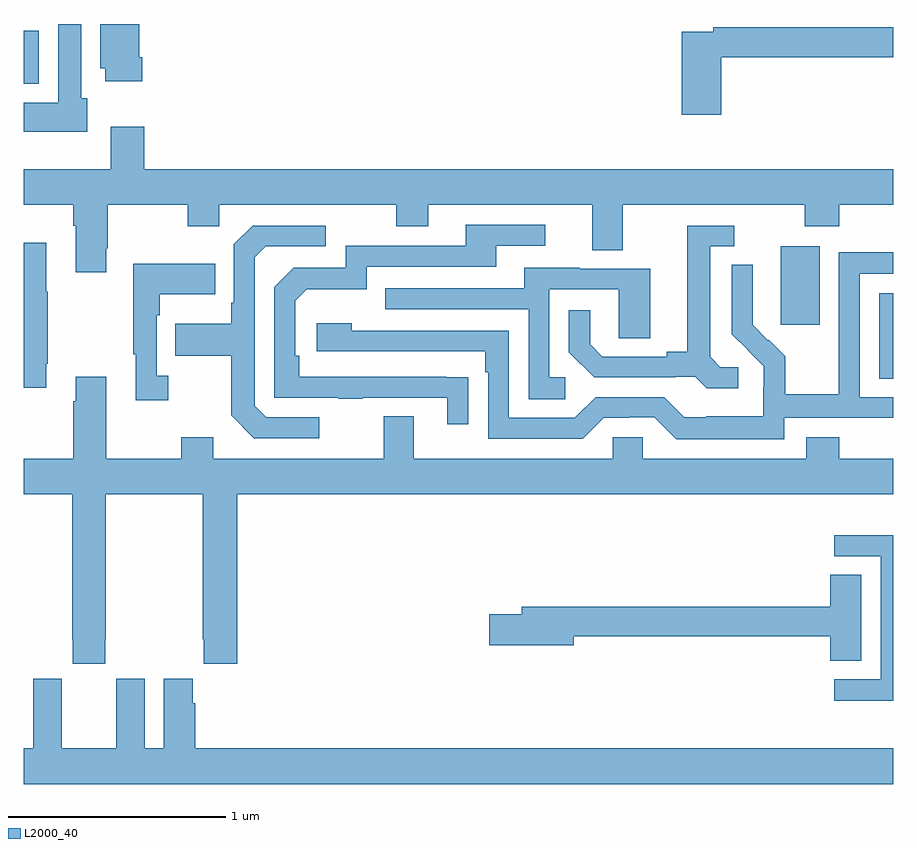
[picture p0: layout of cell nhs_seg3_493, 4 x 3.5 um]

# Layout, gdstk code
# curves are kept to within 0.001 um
import gdstk
lib = gdstk.Library(unit=1e-6, precision=1e-09)
def R(c, l, rs):  # rectangles x0, y0, x1, y1
    for r in rs: c.add(gdstk.rectangle(r[:2], r[2:], *l))
def P(c, l, *ps):  # polygons
    for p in ps: c.add(gdstk.Polygon(p, *l))
L2000_40 = (2000, 40)

nhs_seg3_493 = lib.new_cell('nhs_seg3_493')
R(nhs_seg3_493, L2000_40, [(138.935,714.769,139,715.162), (138.482,715.017,138.661,715.378), (135,716.126,135.07,716.368)])
P(nhs_seg3_493, L2000_40, [(135.545,716.248),(135.532,716.248),(135.532,716.4),(135.353,716.4),(135.353,716.196),(135.374,716.196),(135.374,716.136),(135.545,716.136)],
  [(135.292,716.058),(135.265,716.058),(135.265,716.4),(135.158,716.4),(135.158,716.038),(135,716.038),(135,715.904),(135.292,715.904)],
  [(138.209,716.248),(139,716.248),(139,716.384),(138.172,716.384),(138.172,716.364),(138.026,716.364),(138.026,715.983),(138.209,715.983)],
  [(135.401,715.927),(135.401,715.732),(135,715.732),(135,715.568),(135.227,715.568),(135.227,715.472),(135.239,715.472),(135.239,715.257),(135.379,715.257),(135.379,715.369),(135.387,715.369),(135.387,715.568),(135.754,715.568),(135.754,715.469),(135.9,715.469),(135.9,715.568),(136.714,715.568),(136.714,715.469),(136.861,715.469),(136.861,715.568),(137.615,715.568),(137.615,715.36),(137.755,715.36),(137.755,715.568),(138.592,715.568),(138.592,715.469),(138.752,715.469),(138.752,715.568),(139,715.568),(139,715.732),(135.554,715.732),(135.554,715.927)],
  [(137.045,714.776),(136.268,714.777),(136.268,714.874),(136.248,714.874),(136.248,715.128),(136.301,715.181),(136.578,715.181),(136.578,715.284),(137.173,715.284),(137.173,715.38),(137.398,715.38),(137.398,715.476),(137.033,715.476),(137.033,715.38),(136.482,715.38),(136.482,715.278),(136.242,715.278),(136.152,715.188),(136.152,714.681),(136.447,714.681),(136.447,714.676),(136.559,714.676),(136.559,714.681),(136.949,714.681),(136.949,714.558),(137.045,714.558)],
  [(138.286,714.822),(138.204,714.822),(138.157,714.869),(138.157,715.377),(138.268,715.377),(138.268,715.473),(138.053,715.473),(138.053,714.893),(137.957,714.893),(137.957,714.87),(137.662,714.87),(137.605,714.927),(137.605,715.084),(137.508,715.084),(137.508,714.89),(137.624,714.774),(137.996,714.774),(137.996,714.777),(138.09,714.777),(138.142,714.725),(138.286,714.725)],
  [(136.36,714.591),(136.116,714.591),(136.062,714.645),(136.062,715.326),(136.113,715.377),(136.39,715.377),(136.39,715.473),(136.053,715.473),(135.966,715.386),(135.966,715.117),(135.954,715.117),(135.954,715.021),(135.697,715.021),(135.697,714.874),(135.954,714.874),(135.954,714.601),(136.059,714.495),(136.36,714.495)],
  [(135.103,714.838),(135.111,714.838),(135.111,715.169),(135.103,715.169),(135.103,715.393),(135,715.393),(135,714.726),(135.103,714.726)],
  [(138.498,714.588),(139,714.588),(139,714.684),(138.846,714.684),(138.846,715.251),(139,715.251),(139,715.35),(138.75,715.35),(138.75,714.92),(138.748,714.92),(138.748,714.697),(138.503,714.697),(138.503,714.871),(138.426,714.948),(138.423,714.945),(138.353,715.016),(138.354,715.292),(138.258,715.292),(138.258,714.974),(138.404,714.826),(138.404,714.729),(138.402,714.729),(138.402,714.595),(138.139,714.595),(138.139,714.591),(138.039,714.591),(137.946,714.684),(137.631,714.684),(137.535,714.588),(137.232,714.588),(137.232,714.99),(136.508,714.99),(136.508,715.024),(136.347,715.024),(136.347,714.894),(137.123,714.894),(137.123,714.797),(137.136,714.797),(137.136,714.492),(137.571,714.492),(137.667,714.588),(137.786,714.588),(137.786,714.591),(137.901,714.591),(138.001,714.491),(138.498,714.491)],
  [(135.664,714.782),(135.612,714.782),(135.612,715.061),(135.625,715.061),(135.625,715.157),(135.881,715.157),(135.881,715.297),(135.504,715.297),(135.504,714.881),(135.515,714.881),(135.515,714.669),(135.664,714.669)],
  [(137.491,714.774),(137.418,714.774),(137.418,715.179),(137.736,715.179),(137.736,714.955),(137.881,714.955),(137.881,715.275),(137.557,715.275),(137.557,715.279),(137.303,715.279),(137.303,715.185),(136.663,715.185),(136.663,715.089),(137.322,715.089),(137.322,714.673),(137.491,714.673)],
  [(135.375,713.569),(135.378,713.569),(135.378,714.236),(135.823,714.236),(135.823,713.569),(135.829,713.569),(135.829,713.457),(135.983,713.457),(135.983,714.236),(139,714.236),(139,714.4),(138.752,714.4),(138.752,714.499),(138.599,714.499),(138.599,714.4),(137.847,714.4),(137.847,714.498),(137.709,714.498),(137.709,714.4),(136.795,714.4),(136.795,714.595),(136.655,714.595),(136.655,714.4),(135.871,714.4),(135.871,714.499),(135.724,714.499),(135.724,714.4),(135.379,714.4),(135.379,714.778),(135.239,714.778),(135.239,714.665),(135.227,714.665),(135.227,714.4),(135,714.4),(135,714.236),(135.223,714.236),(135.223,713.569),(135.225,713.569),(135.225,713.457),(135.375,713.457)],
  [(139,714.048),(138.729,714.048),(138.729,713.952),(138.942,713.952),(138.942,713.385),(138.729,713.385),(138.729,713.287),(139,713.287)],
  [(138.853,713.867),(138.71,713.867),(138.71,713.72),(137.291,713.72),(137.291,713.684),(137.142,713.684),(137.142,713.542),(137.53,713.542),(137.53,713.584),(138.71,713.584),(138.71,713.47),(138.853,713.47)],
  [(139,713.068),(135.788,713.068),(135.788,713.276),(135.778,713.276),(135.778,713.389),(135.644,713.389),(135.644,713.068),(135.556,713.068),(135.556,713.389),(135.426,713.389),(135.426,713.276),(135.425,713.276),(135.425,713.068),(135.175,713.068),(135.175,713.276),(135.174,713.276),(135.174,713.389),(135.044,713.389),(135.044,713.068),(135,713.068),(135,712.904),(139,712.904)])

lib.write_gds('nhs_seg3_493.gds')
